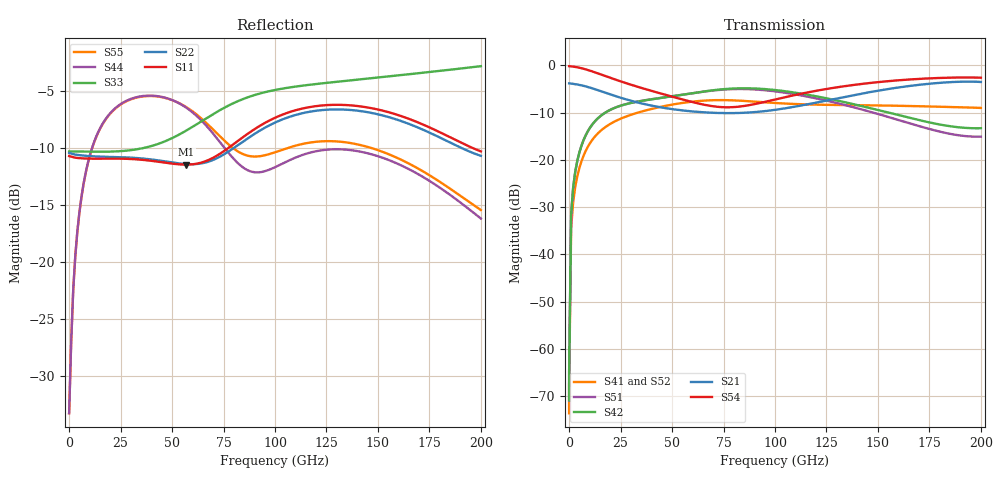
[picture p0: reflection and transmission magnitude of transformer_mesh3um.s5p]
! Created with skrf 2.1.0 (http://scikit-rf.org).
# GHz S DB R 50.0
! Port[1] = P1
! Port[2] = P2
! Port[3] = P3
! Port[4] = P4
! Port[5] = P5
!freq dBS11 angS11 dBS12 angS12 dBS13 angS13
! dBS14 angS14 dBS15 angS15
! dBS21 angS21 dBS22 angS22 dBS23 angS23
! dBS24 angS24 dBS25 angS25
! dBS31 angS31 dBS32 angS32 dBS33 angS33
! dBS34 angS34 dBS35 angS35
! dBS41 angS41 dBS42 angS42 dBS43 angS43
! dBS44 angS44 dBS45 angS45
! dBS51 angS51 dBS52 angS52 dBS53 angS53
! dBS54 angS54 dBS55 angS55
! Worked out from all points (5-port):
!   202 points, 10 MHz to 200 GHz, reference 50 ohm
!   strongest paths, dB at 10 MHz, 49 GHz, 100 GHz, 150 GHz, 200 GHz:
!     S54: -0.2, -6.5, -7.2, -3.6, -2.6
!     S21: -3.8, -9.2, -9.4, -5.4, -3.5
!     S42: -70.8, -6.6, -5.2, -9.5, -13.3
!     S51: -70.8, -6.6, -5.5, -10.3, -15.1
!     S41: -73.6, -8.4, -8.0, -8.5, -9.0
!     S52: -73.6, -8.5, -8.0, -8.7, -9.3
!   lowest |S11| = -11.5 dB at 57 GHz (marker M1), VSWR 1.73, Z = 71.2 + j25.3 ohm
!   |S11| at or under -10 dB: start of sweep to 77.54 GHz; 195.7 GHz to end of sweep
